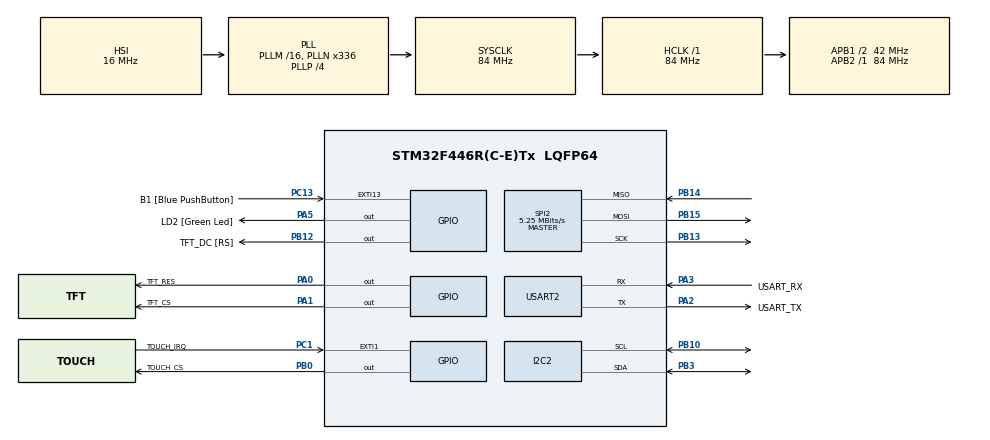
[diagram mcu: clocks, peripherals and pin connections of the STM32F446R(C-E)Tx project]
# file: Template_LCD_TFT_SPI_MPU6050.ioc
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I2C2.I2C_Mode=I2C_Fast
Mcu.Family=STM32F4
Mcu.Name=STM32F446R(C-E)Tx
Mcu.Package=LQFP64
NVIC.PriorityGroup=NVIC_PRIORITYGROUP_0
PA0-WKUP.GPIO_Label=TFT_RES
PA0-WKUP.Signal=GPIO_Output
PA1.GPIO_Label=TFT_CS
PA1.GPIO_Speed=GPIO_SPEED_FREQ_HIGH
PA1.PinState=GPIO_PIN_SET
PA1.Signal=GPIO_Output
PA13.GPIO_Label=TMS
PA13.Mode=Serial_Wire
PA13.Signal=SYS_JTMS-SWDIO
PA14.GPIO_Label=TCK
PA14.Mode=Serial_Wire
PA14.Signal=SYS_JTCK-SWCLK
PA2.GPIO_Label=USART_TX
PA2.Mode=Asynchronous
PA2.Signal=USART2_TX
PA3.GPIO_Label=USART_RX
PA3.Mode=Asynchronous
PA3.Signal=USART2_RX
PA5.GPIO_Label=LD2 [Green Led]
PA5.Signal=GPIO_Output
PB0.GPIO_Label=TOUCH_CS
PB0.GPIO_Speed=GPIO_SPEED_FREQ_HIGH
PB0.PinState=GPIO_PIN_SET
PB0.Signal=GPIO_Output
PB10.Mode=I2C
PB10.Signal=I2C2_SCL
PB12.GPIO_Label=TFT_DC [RS]
PB12.GPIO_Speed=GPIO_SPEED_FREQ_HIGH
PB12.Signal=GPIO_Output
PB13.Mode=Full_Duplex_Master
PB13.Signal=SPI2_SCK
PB14.Mode=Full_Duplex_Master
PB14.Signal=SPI2_MISO
PB15.Mode=Full_Duplex_Master
PB15.Signal=SPI2_MOSI
PB3.Mode=I2C
PB3.Signal=I2C2_SDA
PC1.GPIO_Label=TOUCH_IRQ
PC1.Signal=GPXTI1
PC13.GPIO_Label=B1 [Blue PushButton]
PC13.GPIO_ModeDefaultEXTI=GPIO_MODE_IT_FALLING
PC13.Signal=GPXTI13
PC14-OSC32_IN.Mode=LSE-External-Oscillator
PC14-OSC32_IN.Signal=RCC_OSC32_IN
PC15-OSC32_OUT.Mode=LSE-External-Oscillator
PC15-OSC32_OUT.Signal=RCC_OSC32_OUT
PH0-OSC_IN.Mode=HSE-External-Oscillator
PH0-OSC_IN.Signal=RCC_OSC_IN
PH1-OSC_OUT.Mode=HSE-External-Oscillator
PH1-OSC_OUT.Signal=RCC_OSC_OUT
ProjectManager.HeapSize=0x200
ProjectManager.StackSize=0x400
ProjectManager.TargetToolchain=STM32CubeIDE
RCC.48MHZClocksFreq_Value=84000000
RCC.AHBFreq_Value=84000000
RCC.APB1CLKDivider=RCC_HCLK_DIV2
RCC.APB1Freq_Value=42000000
RCC.APB1TimFreq_Value=84000000
RCC.APB2Freq_Value=84000000
RCC.APB2TimFreq_Value=84000000
RCC.CortexFreq_Value=84000000
RCC.FLatency-AdvancedSettings=FLASH_LATENCY_2
RCC.HCLKFreq_Value=84000000
RCC.HSE_VALUE=8000000
RCC.HSI_VALUE=16000000
RCC.PLLN=336
RCC.PLLP=RCC_PLLP_DIV4
RCC.SYSCLKFreq_VALUE=84000000
RCC.SYSCLKSource=RCC_SYSCLKSOURCE_PLLCLK
RCC.USBFreq_Value=168000000
RCC.VCOOutputFreq_Value=336000000
SPI2.BaudRatePrescaler=SPI_BAUDRATEPRESCALER_8
SPI2.CalculateBaudRate=5.25 MBits/s
SPI2.Direction=SPI_DIRECTION_2LINES
SPI2.Mode=SPI_MODE_MASTER
SPI2.VirtualType=VM_MASTER
USART2.VirtualMode=VM_ASYNC
board=NUCLEO-F446RE

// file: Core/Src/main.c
/* USER CODE BEGIN Header */
/**
 ******************************************************************************
 * @file           : main.c
 * @brief          : Main program body
 ******************************************************************************
 * @attention
 *
 * Copyright (c) 2024 STMicroelectronics.
 * All rights reserved.
 *
 * This software is licensed under terms that can be found in the LICENSE file
 * in the root directory of this software component.
 * If no LICENSE file comes with this software, it is provided AS-IS.
 *
 ******************************************************************************
 */
/* USER CODE END Header */
#include "main.h"

/* USER CODE BEGIN Includes */
#include <string.h>
#include <stdarg.h>
#include <stdio.h>	//sprintf
#include <tft_spi_dual_driver.h>
#include "touch_spi.h"
#include "fonts.h"
#include "MPU6050_light_STM32.h"
/* USER CODE END Includes */

/* USER CODE BEGIN PD */
//Definição da porta SPI do display TFT

/* USER CODE END PD */

I2C_HandleTypeDef hi2c2;

SPI_HandleTypeDef hspi2;

UART_HandleTypeDef huart2;

/* USER CODE BEGIN PV */
//Imagens BMP convertidas para RGB565
extern const unsigned short eletriciade_200x151[30200];

/* USER CODE END PV */

void SystemClock_Config(void);
static void MX_GPIO_Init(void);
static void MX_USART2_UART_Init(void);
static void MX_SPI2_Init(void);
static void MX_I2C2_Init(void);
/* USER CODE BEGIN PFP */
void tft_loop(void);
void touch_loop(void);
void tft_touch_testeToque(void);
void tft_testeDriver(void);
void tft_draw_mpu_dashboard_layout(void);
void tft_update_mpu_data_display(void);
/* USER CODE END PFP */

/* USER CODE BEGIN 0 */
void init()
{
	//Atenção: neste exemplo o display TFT e o touch screen compartilham
	//a mesma porta SPI (SPI3: CLK-Arduino D3, MISO-Ard. D5 e MOSI-Ard. D4).
	//É recomendado que o clock do touch seja menor do que 1 MHz, porque ele
	//é usado para o CAD do chip controlador do touch XPT2046.
	//Isso implica na velocidade máxima do clock para o display.
	//Caso o touch não seja usado, o clock da interface SPI pode ser aumentado
	//até 10 MHz para escrita e 6,7 MHz para leitura considerando o driver
	//de LCD TFT ILI9341.
	//SP3 prescaler = 4 -> 10,5 MHz e 64 -> 656,25 kHz

	tft_unselect();				//Desativa CS do TFT
	touch_unselect();			//Desativa CS do touch
	tft_init();					//Inicializa o display TFT
}

#ifdef __GNUC__
/* With GCC/RAISONANCE, small printf (option LD Linker-
>Libraries->Small printf
set to 'Yes') calls __io_putchar() */
#define PUTCHAR_PROTOTYPE int __io_putchar(int ch)
#else
#define PUTCHAR_PROTOTYPE int fputc(int ch, FILE *f)
#endif /* __GNUC__ */

/* USER CODE END 0 */

int main(void)
{

  /* USER CODE BEGIN 1 */
	uint32_t timer = 0;
	char str[30];
  /* USER CODE END 1 */

  /* MCU Configuration--------------------------------------------------------*/

  /* Reset of all peripherals, Initializes the Flash interface and the Systick. */
  HAL_Init();

  /* Configure the system clock */
  SystemClock_Config();

  /* Initialize all configured peripherals */
  MX_GPIO_Init();
  MX_USART2_UART_Init();
  MX_SPI2_Init();
  MX_I2C2_Init();
  /* USER CODE BEGIN 2 */
  HAL_Delay(1000);
  init();	//Inicializa do TFT e o touch
  tft_setRotation(90);
  tft_fillScreen(TFT_BLUE);

  // 1. Inicialização do MPU6050 com o barramento I2C2
  printf("Inicializando MPU6050...\r\n");
  tft_printNewStr(30, WHITE, &mono12x7, 1, " Inicializando MPU6050");
  MPU6050_init(&hi2c2);

  // 2. Verificação da conexão básica
  uint8_t check = readMPU6050(MPU6050_WHO_AM_I);
  printf("MPU6050 WHO_AM_I: 0x%02X\r\n", check);
  sprintf(str, " WHO_AM_I: 0x%02X", check);
  tft_printNewStr(60, WHITE, &mono12x7, 1, str);
  // Travamento da execução caso o sensor não responda corretamente
  // (WHO_AM_I esperado: 0x68 ou 0x98 (sem explicação))
  while(check != 0x68 && check != 0x98) {
	  MPU6050_begin();
	  check = readMPU6050(MPU6050_WHO_AM_I);
	  HAL_Delay(500);
  }

  // 3. Calcula offsets de giroscópio e acelerômetro simultaneamente
  printf("MPU6050 Calculo dos offsets\r\n", check);
  tft_printNewStr(90, WHITE, &mono12x7, 1, " Calculo dos offsets");
  MPU6050_calcOffsets(true, true);	// Versão 1.2.1
  printf("Concluido!\r\n\r\n");
  tft_printNewStr(120, WHITE, &mono12x7, 1, " Concluido!");

  HAL_Delay(2000);

  // 4. Montagem da tela principla em paisagem após a calibração
  tft_draw_mpu_dashboard_layout();

  timer = HAL_GetTick();
  /* USER CODE END 2 */

  /* Infinite loop */
	while (1)
	{

    /* USER CODE BEGIN 3 */
		//Tutorial de aula
		MPU6050_update();
		// Envia os dados a cada 1 segundo
		if((HAL_GetTick() - timer) > 1000)
		{
			// 1. Envio para a Porta Serial (mantido conforme o seu código)
			printf("TEMPERATURA\t%.2f\r\n", MPU6050_getTemp());
			printf("ACELEROMETRO\tX: %+.2f", MPU6050_getAccX());
			printf("\tY: %+.2f", MPU6050_getAccY());
			printf("\tZ: %+.2f\r\n", MPU6050_getAccZ());
			printf("GIROSCOPIO\tX: %+.2f", MPU6050_getGyroX());
			printf("\tY: %+.2f", MPU6050_getGyroY());
			printf("\tZ: %+.2f\r\n", MPU6050_getGyroZ());
			printf("AC ANGULO\tX: %+.2f", MPU6050_getAccAngleX());
			printf("\tY: %+.2f\r\n", MPU6050_getAngleY()); // (ou getAccAngleY)
			printf("ANGULO F COMP\tX: %+.2f", MPU6050_getAngleX());
			printf("\tY: %+.2f", MPU6050_getAngleY());
			printf("\tZ: %+.2f\r\n", MPU6050_getAngleZ());
			printf("=======================================================\r\n");

			// 2. Atualização dos dados na tela LCD em modo paisagem
			tft_update_mpu_data_display();
		}
	}
  /* USER CODE END 3 */
}

void SystemClock_Config(void)
{
  RCC_OscInitTypeDef RCC_OscInitStruct = {0};
  RCC_ClkInitTypeDef RCC_ClkInitStruct = {0};

  /** Configure the main internal regulator output voltage
  */
  __HAL_RCC_PWR_CLK_ENABLE();
  __HAL_PWR_VOLTAGESCALING_CONFIG(PWR_REGULATOR_VOLTAGE_SCALE3);

  /** Initializes the RCC Oscillators according to the specified parameters
  * in the RCC_OscInitTypeDef structure.
  */
  RCC_OscInitStruct.OscillatorType = RCC_OSCILLATORTYPE_HSI;
  RCC_OscInitStruct.HSIState = RCC_HSI_ON;
  RCC_OscInitStruct.HSICalibrationValue = RCC_HSICALIBRATION_DEFAULT;
  RCC_OscInitStruct.PLL.PLLState = RCC_PLL_ON;
  RCC_OscInitStruct.PLL.PLLSource = RCC_PLLSOURCE_HSI;
  RCC_OscInitStruct.PLL.PLLM = 16;
  RCC_OscInitStruct.PLL.PLLN = 336;
  RCC_OscInitStruct.PLL.PLLP = RCC_PLLP_DIV4;
  RCC_OscInitStruct.PLL.PLLQ = 2;
  RCC_OscInitStruct.PLL.PLLR = 2;
  if (HAL_RCC_OscConfig(&RCC_OscInitStruct) != HAL_OK)
  {
    Error_Handler();
  }

  /** Initializes the CPU, AHB and APB buses clocks
  */
  RCC_ClkInitStruct.ClockType = RCC_CLOCKTYPE_HCLK|RCC_CLOCKTYPE_SYSCLK
                              |RCC_CLOCKTYPE_PCLK1|RCC_CLOCKTYPE_PCLK2;
  RCC_ClkInitStruct.SYSCLKSource = RCC_SYSCLKSOURCE_PLLCLK;
  RCC_ClkInitStruct.AHBCLKDivider = RCC_SYSCLK_DIV1;
  RCC_ClkInitStruct.APB1CLKDivider = RCC_HCLK_DIV2;
  RCC_ClkInitStruct.APB2CLKDivider = RCC_HCLK_DIV1;

  if (HAL_RCC_ClockConfig(&RCC_ClkInitStruct, FLASH_LATENCY_2) != HAL_OK)
  {
    Error_Handler();
  }
}

static void MX_I2C2_Init(void)
{

  hi2c2.Instance = I2C2;
  hi2c2.Init.ClockSpeed = 400000;
  hi2c2.Init.DutyCycle = I2C_DUTYCYCLE_2;
  hi2c2.Init.OwnAddress1 = 0;
  hi2c2.Init.AddressingMode = I2C_ADDRESSINGMODE_7BIT;
  hi2c2.Init.DualAddressMode = I2C_DUALADDRESS_DISABLE;
  hi2c2.Init.OwnAddress2 = 0;
  hi2c2.Init.GeneralCallMode = I2C_GENERALCALL_DISABLE;
  hi2c2.Init.NoStretchMode = I2C_NOSTRETCH_DISABLE;
  if (HAL_I2C_Init(&hi2c2) != HAL_OK)
  {
    Error_Handler();
  }

}

static void MX_SPI2_Init(void)
{

  /* SPI2 parameter configuration*/
  hspi2.Instance = SPI2;
  hspi2.Init.Mode = SPI_MODE_MASTER;
  hspi2.Init.Direction = SPI_DIRECTION_2LINES;
  hspi2.Init.DataSize = SPI_DATASIZE_8BIT;
  hspi2.Init.CLKPolarity = SPI_POLARITY_LOW;
  hspi2.Init.CLKPhase = SPI_PHASE_1EDGE;
  hspi2.Init.NSS = SPI_NSS_SOFT;
  hspi2.Init.BaudRatePrescaler = SPI_BAUDRATEPRESCALER_8;
  hspi2.Init.FirstBit = SPI_FIRSTBIT_MSB;
  hspi2.Init.TIMode = SPI_TIMODE_DISABLE;
  hspi2.Init.CRCCalculation = SPI_CRCCALCULATION_DISABLE;
  hspi2.Init.CRCPolynomial = 10;
  if (HAL_SPI_Init(&hspi2) != HAL_OK)
  {
    Error_Handler();
  }

}

static void MX_USART2_UART_Init(void)
{

  huart2.Instance = USART2;
  huart2.Init.BaudRate = 115200;
  huart2.Init.WordLength = UART_WORDLENGTH_8B;
  huart2.Init.StopBits = UART_STOPBITS_1;
  huart2.Init.Parity = UART_PARITY_NONE;
  huart2.Init.Mode = UART_MODE_TX_RX;
  huart2.Init.HwFlowCtl = UART_HWCONTROL_NONE;
  huart2.Init.OverSampling = UART_OVERSAMPLING_16;
  if (HAL_UART_Init(&huart2) != HAL_OK)
  {
    Error_Handler();
  }

}

static void MX_GPIO_Init(void)
{
  GPIO_InitTypeDef GPIO_InitStruct = {0};

  /* GPIO Ports Clock Enable */
  __HAL_RCC_GPIOC_CLK_ENABLE();
  __HAL_RCC_GPIOH_CLK_ENABLE();
  __HAL_RCC_GPIOA_CLK_ENABLE();
  __HAL_RCC_GPIOB_CLK_ENABLE();

  /*Configure GPIO pin Output Level */
  HAL_GPIO_WritePin(GPIOA, TFT_RES_Pin|LD2_Pin, GPIO_PIN_RESET);

  /*Configure GPIO pin Output Level */
  HAL_GPIO_WritePin(TFT_CS_GPIO_Port, TFT_CS_Pin, GPIO_PIN_SET);

  /*Configure GPIO pin Output Level */
  HAL_GPIO_WritePin(TOUCH_CS_GPIO_Port, TOUCH_CS_Pin, GPIO_PIN_SET);

  /*Configure GPIO pin Output Level */
  HAL_GPIO_WritePin(TFT_DC_GPIO_Port, TFT_DC_Pin, GPIO_PIN_RESET);

  /*Configure GPIO pin : B1_Pin */
  GPIO_InitStruct.Pin = B1_Pin;
  GPIO_InitStruct.Mode = GPIO_MODE_IT_FALLING;
  GPIO_InitStruct.Pull = GPIO_NOPULL;
  HAL_GPIO_Init(B1_GPIO_Port, &GPIO_InitStruct);

  /*Configure GPIO pin : TOUCH_IRQ_Pin */
  GPIO_InitStruct.Pin = TOUCH_IRQ_Pin;
  GPIO_InitStruct.Mode = GPIO_MODE_IT_RISING;
  GPIO_InitStruct.Pull = GPIO_NOPULL;
  HAL_GPIO_Init(TOUCH_IRQ_GPIO_Port, &GPIO_InitStruct);

  /*Configure GPIO pins : TFT_RES_Pin LD2_Pin */
  GPIO_InitStruct.Pin = TFT_RES_Pin|LD2_Pin;
  GPIO_InitStruct.Mode = GPIO_MODE_OUTPUT_PP;
  GPIO_InitStruct.Pull = GPIO_NOPULL;
  GPIO_InitStruct.Speed = GPIO_SPEED_FREQ_LOW;
  HAL_GPIO_Init(GPIOA, &GPIO_InitStruct);

  /*Configure GPIO pin : TFT_CS_Pin */
  GPIO_InitStruct.Pin = TFT_CS_Pin;
  GPIO_InitStruct.Mode = GPIO_MODE_OUTPUT_PP;
  GPIO_InitStruct.Pull = GPIO_NOPULL;
  GPIO_InitStruct.Speed = GPIO_SPEED_FREQ_HIGH;
  HAL_GPIO_Init(TFT_CS_GPIO_Port, &GPIO_InitStruct);

  /*Configure GPIO pins : TOUCH_CS_Pin TFT_DC_Pin */
  GPIO_InitStruct.Pin = TOUCH_CS_Pin|TFT_DC_Pin;
  GPIO_InitStruct.Mode = GPIO_MODE_OUTPUT_PP;
  GPIO_InitStruct.Pull = GPIO_NOPULL;
  GPIO_InitStruct.Speed = GPIO_SPEED_FREQ_HIGH;
  HAL_GPIO_Init(GPIOB, &GPIO_InitStruct);

}

/* USER CODE BEGIN 4 */

static void tft_delay(uint32_t ms)
{
    HAL_Delay(ms);
}

void tft_loop(void)
{
	//Check border
	tft_fillScreen(TFT_BLACK);

	for(int x = 0; x < TFT_WIDTH; x++)
	{
		tft_drawPixel(x, 0, TFT_RED);
		tft_drawPixel(x, TFT_HEIGHT-1, TFT_RED);
	}

	for(int y = 0; y < TFT_HEIGHT; y++)
	{
		tft_drawPixel(0, y, TFT_RED);
		tft_drawPixel(TFT_WIDTH-1, y, TFT_RED);
	}

	HAL_Delay(1000);

	//Check font
	tft_fillScreen(TFT_BLACK);
	tft_printNewStr(20, TFT_RED, &mono12x7, 1, "Oi mundo!");
	tft_printNewStr(40, TFT_GREEN, &mono12x7, 1, "Oi mundo!");
	tft_printNewStr(60, TFT_BLUE, &mono12x7, 1, "Oi mundo!");

	HAL_Delay(1000);
	tft_invertDisplay(true);
	HAL_Delay(1000);
	tft_invertDisplay(false);

	HAL_Delay(2000);

	//Check colors
	tft_fillScreen(TFT_WHITE);
	tft_printNewStr(20, TFT_RED, &mono12x7, 1, "WHITE");
	HAL_Delay(500);

	tft_fillScreen(TFT_BLUE);
	tft_printNewStr(20, TFT_WHITE, &mono12x7, 1, "BLUE");
	HAL_Delay(500);

	tft_fillScreen(TFT_RED);
	tft_printNewStr(20, TFT_WHITE, &mono12x7, 1, "RED");
	HAL_Delay(500);

	tft_fillScreen(TFT_GREEN);
	tft_printNewStr(20, TFT_WHITE, &mono12x7, 1, "GREEN");
	HAL_Delay(500);

	tft_fillScreen(TFT_CYAN);
	tft_printNewStr(20, TFT_BLACK, &mono12x7, 1, "CYAN");
	HAL_Delay(500);

	tft_fillScreen(TFT_MAGENTA);
	tft_printNewStr(20, TFT_BLACK, &mono12x7, 1, "MAGENTA");
	HAL_Delay(500);

	tft_fillScreen(TFT_YELLOW);
	tft_printNewStr(20, TFT_BLACK, &mono12x7, 1, "YELLOW");
	HAL_Delay(500);

	tft_fillScreen(TFT_BLACK);
	tft_printNewStr(20, TFT_WHITE, &mono12x7, 1, "BLACK");
	HAL_Delay(500);

	tft_drawImage(0,0,200,151,eletriciade_200x151);
	HAL_Delay(2000);
}

void touch_loop(void)
{
  uint16_t x, y, xm, xM, ym, yM;
  char str[50];
  uint16_t size;

  if(touch_getCoordinates(&x, &y))
//  if(touch_getRawCoordinates(&x, &y))	//Usar para calibração
  {
  	size = sprintf(str, "x: %i     ", x);
  	HAL_UART_Transmit(&huart2, str, size, 100);

  	size = sprintf(str, "y: %i\r\n", y);
  	HAL_UART_Transmit(&huart2, str, size, 100);

  	//Usar para calibração
//  	touch_getRawMinMaxCoordenadtes(&xm, &xM, &ym, &yM);
//  	size = sprintf(str, "xm: %i\txM: %i\t ym: %i\t yM: %i\r\n", xm, xM, ym, yM);
//  	HAL_UART_Transmit(&huart2, str, size, 100);
  }
  else
  {
  	HAL_UART_Transmit(&huart2, "Not pressed\r\n", 13, 100);
  }

  HAL_Delay(250);
}

void tft_touch_testeToque(void)
{
	uint16_t x, y;
	char str[50];
	uint16_t size;

	tft_setRotation(0);
	tft_fillScreen(TFT_WHITE);
	tft_setFont(&mono12x7bold);
	tft_setTextBackColor(TFT_WHITE);
	tft_setTextColor(TFT_BLACK);

	while(1)
	{
		if(touch_getCoordinates(&x, &y))
		{
			//Como as coordenas do touch crescem da esquerda para direita,
			//de baixo para cima, as coordenadas y devem ser invertidas para
			//se adequarem a orientação do eixo y do display
			y = 320 - y;
			tft_drawCircle(x, y, 4, TFT_RED);
			tft_setCursor(15, 15);
			size = sprintf(str, "X = %i\t Y = %i    ", x, y);
			tft_printStr_bc(str);
		}
		HAL_Delay(250);
	}
}

void tft_testeDriver(void)
{
    uint16_t w = 0;
    uint16_t h = 0;

    //Funções de teste do LCD (tirar para teste do touch)
    tft_testfillScreen();
    tft_testLines(CYAN);
    tft_testFastLines(RED, BLUE);
    tft_testFilledCircles(10, MAGENTA);
    tft_testCircles(10, WHITE);
    tft_fillScreen(BLACK);

    /* Fundo */
    tft_fillScreen(BLACK);
    tft_delay(300);

    /* Identificação visual */
    tft_setCursor(5, 20);
    tft_setTextColor(WHITE);
    tft_setTextBackColor(BLACK);
    tft_setTextSize(1);
    tft_printStr((uint8_t *)"TFT DRIVER TEST");

    tft_setCursor(5, 40);
    tft_setTextColor(CYAN);
    tft_printStr((uint8_t *)"Testing shapes and colors");

    tft_delay(300);

    /* Linhas coloridas em diagonal */
    tft_fillScreen(BLACK);
    for (int16_t i = 0; i < 240; i += 20) {
        tft_drawLine(0, 0, i, 319, RED);
        tft_drawLine(0, 319, i, 0, GREEN);
        tft_drawLine(0, i, 239, 319 - i, BLUE);
        tft_drawLine(239, i, 0, 319 - i, YELLOW);
    }
    tft_delay(600);

    /* Linhas horizontais e verticais */
    tft_fillScreen(BLACK);
    for (int16_t y = 0; y < 320; y += 20) {
        tft_drawFastHLine(0, y, 240, CYAN);
    }
    for (int16_t x = 0; x < 240; x += 20) {
        tft_drawFastVLine(x, 0, 320, MAGENTA);
    }
    tft_delay(600);

    /* Retângulos */
    tft_fillScreen(BLACK);
    for (int16_t i = 0; i < 100; i += 12) {
        tft_drawRect(i, i, 240 - 2 * i, 320 - 2 * i, RED);
        tft_drawRect(i + 2, i + 2, 240 - 2 * i - 4, 320 - 2 * i - 4, GREEN);
        tft_drawRect(i + 4, i + 4, 240 - 2 * i - 8, 320 - 2 * i - 8, BLUE);
    }
    tft_delay(600);

    /* Retângulos preenchidos */
    tft_fillScreen(BLACK);
    tft_fillRect(10, 10, 60, 40, RED);
    tft_fillRect(80, 20, 100, 50, GREEN);
    tft_fillRect(30, 80, 150, 60, BLUE);
    tft_fillRect(60, 160, 120, 80, CYAN);
    tft_fillRect(20, 250, 180, 50, YELLOW);
    tft_delay(600);

    /* Cantos arredondados */
    tft_fillScreen(BLACK);
    tft_drawRoundRect(10, 10, 220, 80, 15, RED);
    tft_drawRoundRect(20, 100, 200, 90, 20, GREEN);
    tft_drawRoundRect(30, 200, 180, 100, 25, BLUE);
    tft_fillRoundRect(35, 215, 170, 70, 18, MAGENTA);
    tft_delay(600);

    /* Círculos */
    tft_fillScreen(BLACK);
    tft_drawCircle(60, 60, 30, RED);
    tft_drawCircle(180, 60, 40, GREEN);
    tft_fillCircle(60, 160, 35, BLUE);
    tft_fillCircle(180, 170, 45, YELLOW);
    tft_drawCircleHelper(120, 250, 35, 0x0F, CYAN);
    tft_fillCircleHelper(120, 250, 25, 0x03, 10, MAGENTA);
    tft_delay(600);

    /* Triângulos */
    tft_fillScreen(BLACK);
    tft_drawTriangle(20, 20, 120, 20, 70, 100, RED);
    tft_drawTriangle(140, 20, 220, 100, 100, 120, GREEN);
    tft_fillTriangle(30, 150, 100, 250, 10, 260, BLUE);
    tft_fillTriangle(140, 150, 220, 250, 180, 300, CYAN);
    tft_delay(600);

    /* Mistura de tudo */
    tft_fillScreen(BLACK);
    tft_drawRect(5, 5, 230, 310, WHITE);
    tft_drawLine(0, 0, 239, 319, RED);
    tft_drawLine(239, 0, 0, 319, GREEN);
    tft_drawCircle(120, 160, 70, BLUE);
    tft_fillCircle(120, 160, 35, YELLOW);
    tft_drawRoundRect(20, 40, 200, 240, 20, CYAN);
    tft_fillTriangle(40, 280, 200, 280, 120, 180, MAGENTA);

    tft_setCursor(10, 290);
    tft_setTextColor(WHITE);
    tft_setTextBackColor(BLACK);
    tft_setTextSize(1);
    tft_printStr((uint8_t *)"END OF TEST");
    tft_delay(1000);
    tft_scrollup(10);
    tft_delay(1000);
    tft_scrolldown(10);
    tft_delay(1000);
    tft_invertDisplay(1);
    tft_setRotation(0);
    tft_fillRect(100, 0, 100, 50, WHITE);
    tft_delay(500);
    tft_setRotation(90);
    tft_fillRect(100, 0, 100, 50, RED);
    tft_delay(500);
    tft_setRotation(180);
    tft_fillRect(100, 0, 100, 50, GREEN);
    tft_delay(500);
    tft_setRotation(270);
    tft_fillRect(100, 0, 100, 50, BLUE);
    tft_delay(500);
    tft_invertDisplay(0);
}

/**
* @brief Retargets the C library printf function to the USART.
* @param None
* @retval None
*/
PUTCHAR_PROTOTYPE
{
	/* Place your implementation of fputc here */
	/* e.g. write a character to the USART2 and Loop until the end of transmission */
	HAL_UART_Transmit(&huart2, (uint8_t *)&ch, 1, 0xFFFF);
	return ch;
}

/* USER CODE BEGIN 0 */

/**
 * @brief Desenha a interface estática do MPU6050 no display em modo paisagem (320x240)
 */
void tft_draw_mpu_dashboard_layout(void)
{
    tft_setRotation(90); // Garante a orientação paisagem (320x240)
    tft_fillScreen(TFT_BLACK);

    // Cabeçalho
    tft_setFont(&mono12x7bold);
    tft_setTextColor(TFT_YELLOW);
    tft_setTextBackColor(TFT_BLACK);
    tft_setCursor(10, 20);
    tft_printStr((uint8_t *)"MPU6050 - DASHBOARD");

    // Linha divisória horizontal
    tft_drawFastHLine(0, 28, 320, TFT_BLUE);

    // Rótulos fixos das seções
    //tft_setFont(&mono12x7);
    tft_setFont(&mono9x7);

    // Coluna / Linha 1: Temperatura
    tft_setCursor(10, 50);
    tft_setTextColor(TFT_CYAN);
    tft_printStr((uint8_t *)"Temp:");

    // Linha divisória horizontal
    tft_drawFastHLine(0, 60, 320, TFT_BLUE);
    // Linha divisória vertical
    tft_drawFastVLine(98, 60, 150, TFT_BLUE);
    tft_drawFastVLine(173, 60, 150, TFT_BLUE);
    tft_drawFastVLine(250, 60, 150, TFT_BLUE);

    // Coluna / Linha 2: Eixos
    tft_setCursor(10, 80);
    tft_setTextColor(TFT_WHITE);
    tft_printStr((uint8_t *)"         X      Y      Z    ");

    // Coluna / Linha 3: Acelerômetro (g)
    tft_setCursor(10, 110);
    tft_setTextColor(TFT_GREEN);
    tft_printStr((uint8_t *)"Acel(g)                     ");

    // Coluna / Linha 4: Giroscópio (deg/s)
    tft_setCursor(10, 140);
    tft_setTextColor(TFT_MAGENTA);
    tft_printStr((uint8_t *)"Gir( /s)                    ");
    tft_drawCircle(60, 134, 2, TFT_MAGENTA);

    // Coluna / Linha 5: Ângulos do Acelerômetro
    tft_setCursor(10, 170);
    tft_setTextColor(TFT_WHITE);
    tft_printStr((uint8_t *)"Ac Ang                      ");

    // Coluna / Linha 6: Ângulos Finais (Filtro Complementar)
    tft_setCursor(10, 200);
    tft_setTextColor(TFT_YELLOW);
    tft_printStr((uint8_t *)"Angulos               F.Comp");

    // Rodapé de status
    tft_drawFastHLine(0, 210, 320, TFT_BLUE);
    tft_setCursor(10, 230);
    tft_setTextColor(TFT_WHITE);
    tft_printStr((uint8_t *)"Status: Executando no STM32");
}

/**
 * @brief Atualiza os valores dinâmicos nos campos do display sem apagar a tela inteira (evita flicker)
 */
void tft_update_mpu_data_display(void)
{
    char str[40];

    //tft_setFont(&mono12x7);
    tft_setFont(&mono9x7);
    tft_setTextColor(TFT_WHITE);
    tft_setTextBackColor(TFT_BLACK);

    // 1. Temperatura (ex: Aprox. x=60, y=50)
    sprintf(str, "%.2f", MPU6050_getTemp());
    tft_setCursor(65, 50);
    tft_printStr_bc((uint8_t *)str);
    sprintf(str, "C", MPU6050_getTemp());
    tft_setCursor(142, 50);
    tft_printStr_bc((uint8_t *)str);
    tft_drawCircle(136, 44, 2, TFT_WHITE);

    // 2. Acelerômetro X, Y, Z
    sprintf(str, "%+.2f", MPU6050_getAccX());
    tft_setCursor(100, 110);
    tft_printStr_bc((uint8_t *)str);

    sprintf(str, "%+.2f", MPU6050_getAccY());
    tft_setCursor(175, 110);
    tft_printStr_bc((uint8_t *)str);

    sprintf(str, "%+.2f", MPU6050_getAccZ());
    tft_setCursor(252, 110);
    tft_printStr_bc((uint8_t *)str);

    // 3. Giroscópio X, Y, Z
    sprintf(str, "%+.1f", MPU6050_getGyroX());
    tft_setCursor(100, 140);
    tft_printStr_bc((uint8_t *)str);

    sprintf(str, "%+.1f", MPU6050_getGyroY());
    tft_setCursor(175, 140);
    tft_printStr_bc((uint8_t *)str);

    sprintf(str, "%+.1f", MPU6050_getGyroZ());
    tft_setCursor(252, 140);
    tft_printStr_bc((uint8_t *)str);

    // 4. Ângulos do Acelerômetro (X e Y)
    sprintf(str, "%+.2f", MPU6050_getAccAngleX());
    tft_setCursor(100, 170);
    tft_printStr_bc((uint8_t *)str);

    sprintf(str, "%+.2f", MPU6050_getAccAngleY());
    tft_setCursor(175, 170);
    tft_printStr_bc((uint8_t *)str);

    // 5. Ângulos Finais do Filtro Complementar (X, Y, Z)
    sprintf(str, "%+.1f", MPU6050_getAngleX());
    tft_setCursor(100, 200);
    tft_printStr_bc((uint8_t *)str);

    sprintf(str, "%+.1f", MPU6050_getAngleY());
    tft_setCursor(175, 200);
    tft_printStr_bc((uint8_t *)str);

    sprintf(str, "%+.1f", MPU6050_getAngleZ());
    tft_setCursor(252, 170);
    tft_printStr_bc((uint8_t *)str);
}
/* USER CODE END 4 */

void Error_Handler(void)
{
	 __disable_irq();
	 while (1)
	 {
	 }
}
